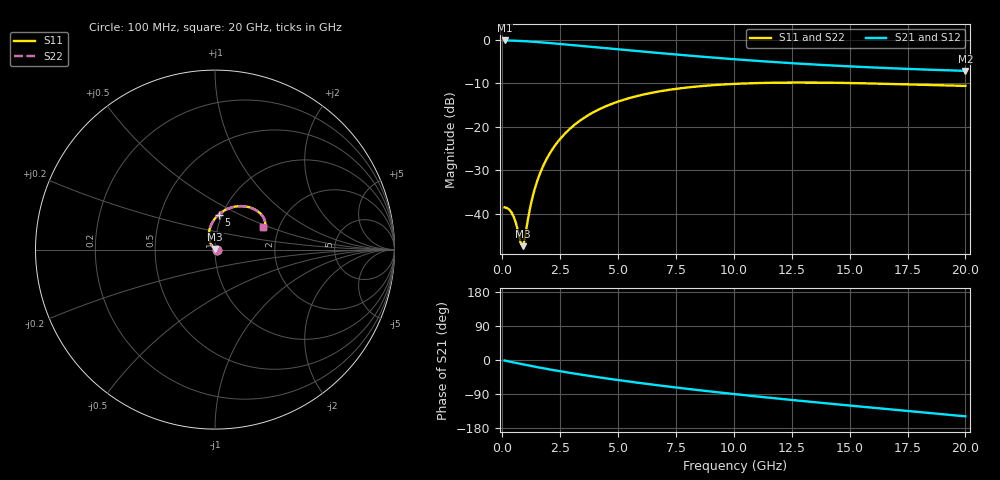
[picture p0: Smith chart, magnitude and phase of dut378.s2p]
! Touchstone file exported from HFSS 2024.1.0
!  File:  C:/UserFiles/LocalFiles/RDL_TSV_Batchsim/temp_RDL_TSV_378_1779644444.aedt
!  Generated:  01:53:41 AM May 25, 2026
!  Design:  RDL_TSV
!  Project:  temp_RDL_TSV_378_1779644444
!  Setup:  Setup1
!  Solution:  Sweep
! Variables:
!  dtsv = 9.45um
!  hbump = 3um
!  htsv = 74.81um
!  ldown = 264.04um
!  lrdl = 276.99um
!  p = 40
!  p1 = 42.67um
!  rhole = 10um
!  subl = 1900.08um
!  t = 450um
!  tdown = 4.29um
!  trdl = 3.67um
!  viad = 10um
!  wdown = 15.3um
!  wrdl = 15.42um
!  xbump = 18um
# GHz S MA R 50.000000
! Terminal data exported
! Port[1] = TM1_1_T1
! Port[2] = TM1_4_T1
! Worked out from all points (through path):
!   200 points, 100 MHz to 20 GHz, reference 50 ohm
!   highest |S21| = -0.11 dB at 100 MHz (marker M1); lowest = -7.1 dB at 20 GHz (marker M2)
!   group delay of S21, straight-line fit = 19.5 ps
!   lowest |S11| = -47.4 dB at 900 MHz (marker M3), VSWR 1.01, Z = 50.1 + j0.411 ohm
!   |S11| at or under -10 dB: start of sweep to 10.45 GHz; 15.96 GHz to end of sweep
!   |S22| runs from -47.4 to -9.8 dB; largest |S21 - S12| = 1.2e-14
!   S11 on the Smith chart (normalised r, x): 100 MHz: 1.02, +0.00; 5 GHz: 0.96, +0.39; 20 GHz: 1.65, +0.46
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0.1  0.01191 1.7  0.9877 -1.3  0.9877 -1.3  0.01191 1.7
! Gamma 0 0 0 0
! Port Impedance 50 0 50 0
0.3  0.01124 3.7  0.9854 -4.0  0.9854 -4.0  0.01124 3.7
0.5  0.009198 6.6  0.9817 -6.5  0.9817 -6.5  0.009205 6.5
0.6  0.007694 10.7  0.9795 -7.8  0.9795 -7.8  0.007703 10.7
0.8  0.004579 39.6  0.9741 -10.3  0.9741 -10.3  0.004588 39.4
0.9  0.004265 74.1  0.971 -11.6  0.971 -11.6  0.004261 73.7
1  0.005768 103.6  0.9677 -12.8  0.9677 -12.8  0.005748 103.3
1.2  0.01174 124.9  0.9603 -15.2  0.9603 -15.2  0.01171 124.8
1.3  0.01542 127.9  0.9563 -16.4  0.9563 -16.4  0.01537 127.9
1.5  0.02357 129.3  0.9479 -18.8  0.9479 -18.8  0.02351 129.3
1.8  0.03725 127.0  0.9343 -22.2  0.9343 -22.2  0.03716 127.0
2.1  0.05211 123.1  0.9199 -25.5  0.9199 -25.5  0.052 123.1
2.5  0.07299 117.2  0.9001 -29.7  0.9001 -29.7  0.07284 117.2
3  0.09964 109.7  0.8752 -34.7  0.8752 -34.7  0.09945 109.7
3.5  0.1258 102.5  0.8507 -39.5  0.8507 -39.5  0.1256 102.5
4.2  0.1604 93.4  0.8175 -46.0  0.8175 -46.0  0.1601 93.4
5  0.1958 84.2  0.7813 -52.9  0.7813 -52.9  0.1954 84.1
6.8  0.257 67.2  0.7071 -67.3  0.7071 -67.3  0.2565 67.2
10.1  0.3134 46.1  0.5988 -90.5  0.5988 -90.5  0.3128 46.1
13.4  0.3241 33.4  0.5239 -110.8  0.5239 -110.8  0.3235 33.4
16.7  0.3127 26.8  0.4744 -129.9  0.4744 -129.9  0.3121 26.7
20  0.2967 25.4  0.4416 -148.7  0.4416 -148.7  0.2962 25.4
